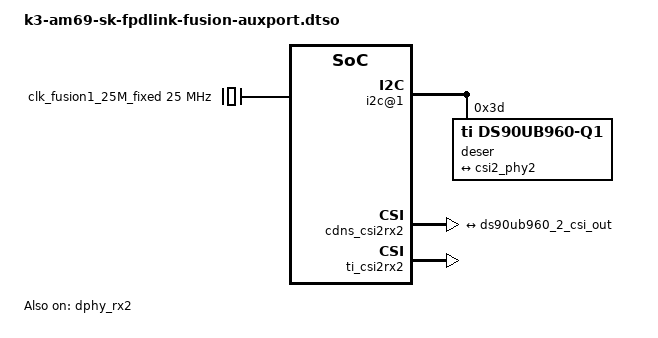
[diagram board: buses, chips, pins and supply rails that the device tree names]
// SPDX-License-Identifier: GPL-2.0
/*
 * DT Overlay for Fusion (FPD-Link III) board on AM69 SK CSI2 Aux Port
 * https://svtronics.com/portfolio/evm577pfusion-v1-0-fusion/
 *
 * Copyright (C) 2024 Texas Instruments Incorporated - https://www.ti.com/
 */

/dts-v1/;
/plugin/;

&{/} {
	clk_fusion1_25M_fixed: fixed-clock-25M {
		compatible = "fixed-clock";
		#clock-cells = <0>;
		clock-frequency = <25000000>;
	};
};

&pca9543 {
	#address-cells = <1>;
	#size-cells = <0>;

	i2c@1 {
		#address-cells = <1>;
		#size-cells = <0>;
		reg = <1>;

		deser@3d {
			compatible = "ti,ds90ub960-q1";
			reg = <0x3d>;
			clocks = <&clk_fusion1_25M_fixed>;
			clock-names = "refclk";
			i2c-alias-pool = <0x6a 0x6b 0x6c 0x6d 0x6e 0x6f>;

			ds90ub960_2_ports: ports {
				#address-cells = <1>;
				#size-cells = <0>;

				/* CSI-2 TX*/
				port@4 {
					reg = <4>;
					ds90ub960_2_csi_out: endpoint {
						clock-lanes = <0>;
						data-lanes = <1 2 3 4>;
						link-frequencies = /bits/ 64 <800000000>;
						remote-endpoint = <&csi2_phy2>;
					};
				};
			};

			ds90ub960_2_links: links {
				#address-cells = <1>;
				#size-cells = <0>;
			};
		};
	};
};

&cdns_csi2rx2 {
	ports {
		port@0 {
			status = "okay";

			csi2_phy2: endpoint {
				remote-endpoint = <&ds90ub960_2_csi_out>;
				clock-lanes = <0>;
				data-lanes = <1 2 3 4>;
				link-frequencies = /bits/ 64 <800000000>;
			};
		};
	};
};

&ti_csi2rx2 {
	status = "okay";
};

&dphy_rx2 {
	status = "okay";
};
